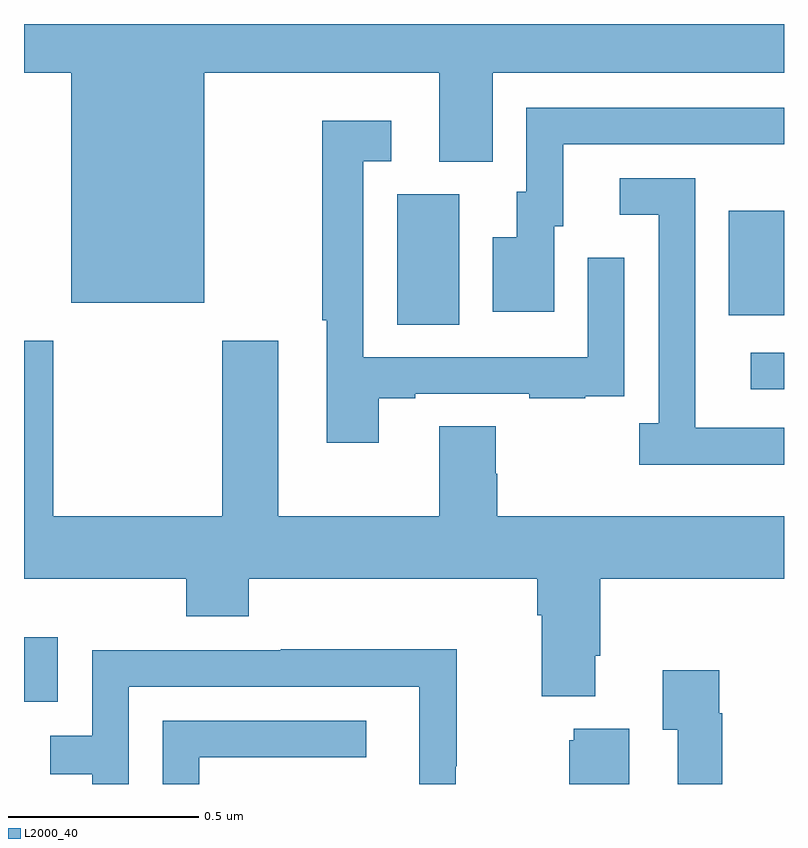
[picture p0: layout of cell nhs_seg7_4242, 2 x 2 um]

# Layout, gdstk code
import gdstk
lib = gdstk.Library(unit=1e-6, precision=1e-09)
def R(c, l, rs):  # rectangles x0, y0, x1, y1
    for r in rs: c.add(gdstk.rectangle(r[:2], r[2:], *l))
def P(c, l, *ps):  # polygons
    for p in ps: c.add(gdstk.Polygon(p, *l))
L2000_40 = (2000, 40)

nhs_seg7_4242 = lib.new_cell('nhs_seg7_4242')
R(nhs_seg7_4242, L2000_40, [(169,1076.217,169.089,1076.386), (170.913,1077.039,171,1077.135), (169.982,1077.208,170.146,1077.552), (170.855,1077.233,171,1077.508)])
P(nhs_seg7_4242, L2000_40, [(169.474,1077.872),(170.093,1077.872),(170.093,1077.637),(170.233,1077.637),(170.233,1077.872),(171,1077.872),(171,1078),(169,1078),(169,1077.872),(169.124,1077.872),(169.124,1077.266),(169.474,1077.266)],
  [(170.395,1077.468),(170.419,1077.468),(170.419,1077.684),(171,1077.684),(171,1077.78),(170.322,1077.78),(170.322,1077.558),(170.297,1077.558),(170.297,1077.439),(170.234,1077.439),(170.234,1077.243),(170.395,1077.243)],
  [(169.933,1077.015),(170.029,1077.015),(170.029,1077.027),(170.329,1077.027),(170.329,1077.015),(170.477,1077.015),(170.477,1077.021),(170.579,1077.021),(170.579,1077.13),(170.58,1077.13),(170.58,1077.385),(170.484,1077.385),(170.484,1077.123),(169.893,1077.123),(169.893,1077.639),(169.966,1077.639),(169.966,1077.745),(169.785,1077.745),(169.785,1077.22),(169.797,1077.22),(169.797,1076.898),(169.933,1076.898)],
  [(171,1076.937),(170.767,1076.937),(170.767,1077.137),(170.766,1077.137),(170.766,1077.594),(170.568,1077.594),(170.568,1077.498),(170.67,1077.498),(170.67,1076.95),(170.619,1076.95),(170.619,1076.84),(171,1076.84)],
  [(170.503,1076.338),(170.516,1076.338),(170.516,1076.54),(171,1076.54),(171,1076.704),(170.246,1076.704),(170.246,1076.817),(170.241,1076.817),(170.241,1076.942),(170.093,1076.942),(170.093,1076.704),(169.669,1076.704),(169.669,1077.166),(169.522,1077.166),(169.522,1076.704),(169.077,1076.704),(169.077,1077.166),(169,1077.166),(169,1076.54),(169.427,1076.54),(169.427,1076.441),(169.592,1076.441),(169.592,1076.54),(170.351,1076.54),(170.351,1076.444),(170.363,1076.444),(170.363,1076.231),(170.503,1076.231)],
  [(169.275,1076.256),(170.04,1076.256),(170.04,1076),(170.136,1076),(170.136,1076.047),(170.139,1076.047),(170.139,1076.354),(169.675,1076.354),(169.675,1076.352),(169.179,1076.352),(169.179,1076.127),(169.069,1076.127),(169.069,1076.026),(169.179,1076.026),(169.179,1076),(169.275,1076)],
  [(170.837,1076.186),(170.83,1076.186),(170.83,1076.299),(170.681,1076.299),(170.681,1076.143),(170.721,1076.143),(170.721,1076),(170.837,1076)],
  [(169.461,1076.07),(169.9,1076.07),(169.9,1076.166),(169.365,1076.166),(169.365,1076),(169.461,1076)],
  [(170.593,1076.146),(170.447,1076.146),(170.447,1076.115),(170.435,1076.115),(170.435,1076),(170.593,1076)])

lib.write_gds('nhs_seg7_4242.gds')
